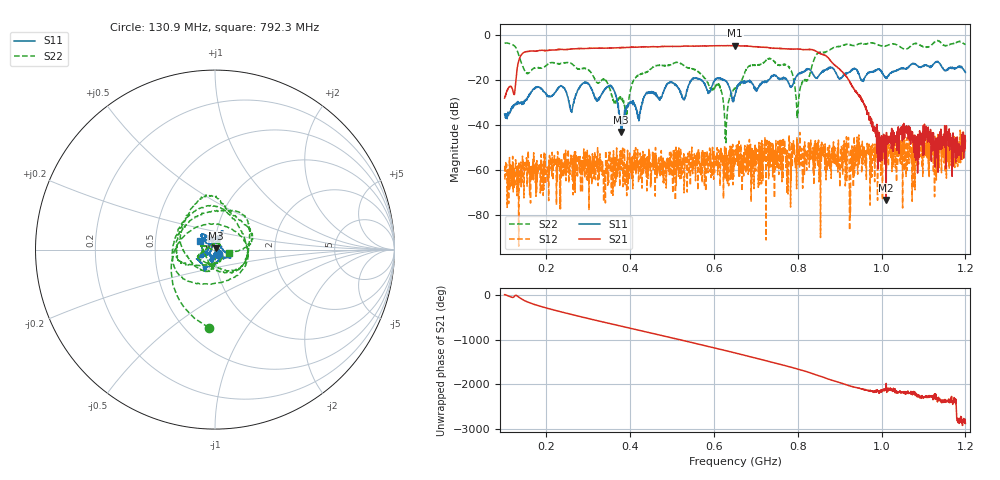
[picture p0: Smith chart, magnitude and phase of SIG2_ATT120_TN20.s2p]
# Hz S DB R 50
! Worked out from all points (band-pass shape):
!   1601 points, 100 MHz to 1.2 GHz, reference 50 ohm
!   highest |S21| = -4.56 dB at 650.7 MHz (marker M1); lowest = -73.6 dB at 1.011 GHz (marker M2)
!   |S21| within 3 dB of the highest: 146.4 MHz to 847.3 MHz (700.9 MHz wide, 141 % of centre)
!   lowest |S11| = -43.1 dB at 378.4 MHz (marker M3), VSWR 1.01, Z = 50.3 + j0.62 ohm
!   |S11| at or under -10 dB: start of sweep to end of sweep
!   |S22| runs from -47.9 to -2.3 dB; largest |S21 - S12| = 0.59
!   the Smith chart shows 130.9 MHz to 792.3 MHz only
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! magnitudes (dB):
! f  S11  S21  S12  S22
! 100 MHz  -35.1  -28.0  -64.4  -3.5
! 146.1 MHz  -29.6  -7.6  -72.6  -15.1
! 235.4 MHz  -22.5  -6.3  -60.0  -12.6
! 260.2 MHz  -34.4  -6.1  -53.8  -12.7
! 283.6 MHz  -22.1  -5.9  -61.2  -14.9
! 355.1 MHz  -23.0  -5.7  -70.5  -26.8
! 378.4 MHz  -43.1  -5.5  -57.1  -28.0
! 467.1 MHz  -28.2  -5.1  -54.2  -13.4
! 610.1 MHz  -19.0  -4.6  -59.2  -21.6
! 628 MHz  -20.3  -4.6  -49.7  -47.8
! 650 MHz  -26.7  -4.6  -58.2  -23.8
! 650.7 MHz  -26.3  -4.6  -55.6  -23.6
! 734.6 MHz  -19.0  -5.6  -48.0  -10.4
! 780.6 MHz  -22.4  -6.1  -47.7  -14.9
! 799.2 MHz  -17.5  -6.1  -47.5  -33.6
! 833.6 MHz  -16.3  -6.3  -54.4  -13.8
! 916.1 MHz  -17.2  -18.5  -45.3  -4.1
! 928.4 MHz  -15.3  -22.5  -54.5  -4.4
! 940.1 MHz  -15.3  -25.7  -49.9  -4.2
! 1.011 GHz  -19.0  -73.6  -59.6  -4.6
! 1.017 GHz  -17.6  -45.2  -50.0  -4.2
! 1.2 GHz  -16.6  -46.9  -52.8  -4.1
